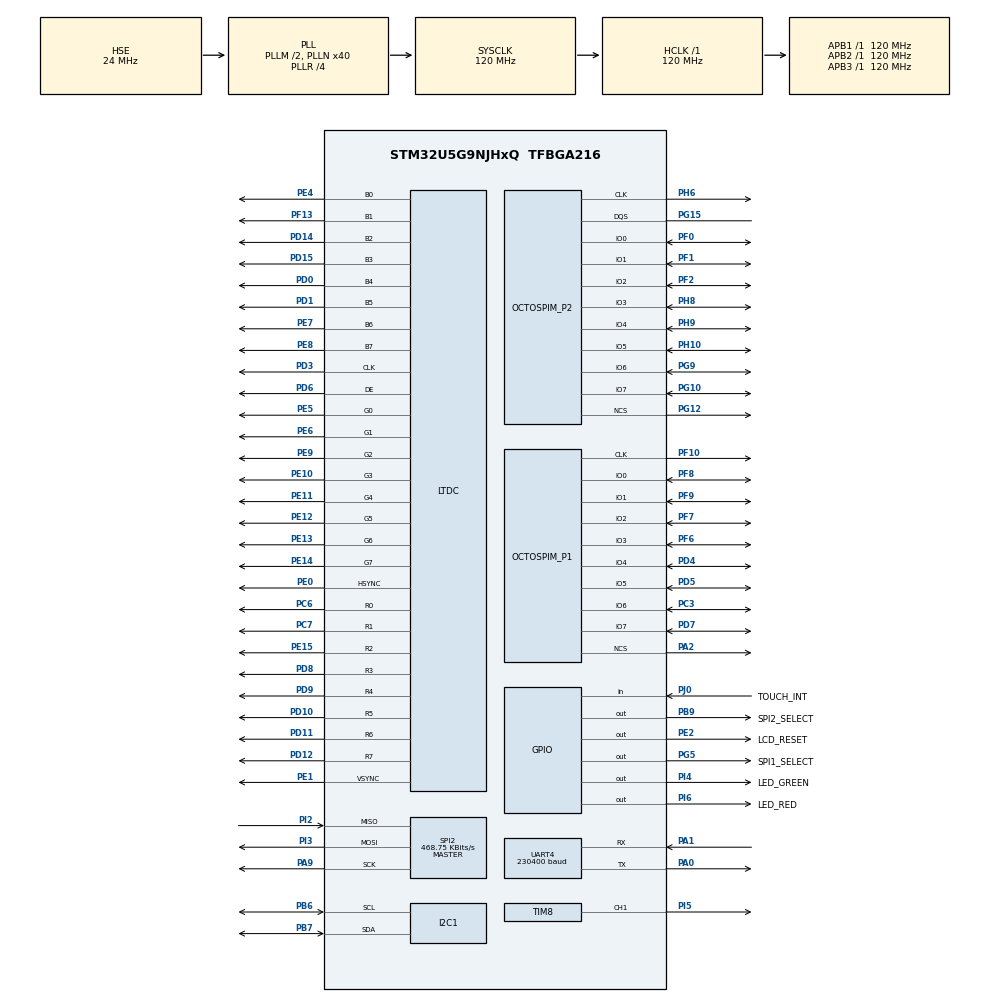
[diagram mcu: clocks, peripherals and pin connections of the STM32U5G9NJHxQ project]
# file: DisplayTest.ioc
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CORTEX_M33_NS.userName=CORTEX_M33
I2C1.Timing=0x307075B1
LTDC.ActiveH=240
LTDC.ActiveW=320
LTDC.Alpha0_L0=255
LTDC.Alpha_L0=255
LTDC.BlendingFactor1_L0=LTDC_BLENDING_FACTOR1_PAxCA
LTDC.BlendingFactor2_L0=LTDC_BLENDING_FACTOR2_PAxCA
LTDC.Blue=255
LTDC.FBStartAdress_L0=0x90000000
LTDC.HBP=43
LTDC.HFP=8
LTDC.HSync=4
LTDC.ImageHeight_L0=240
LTDC.ImageWidth_L0=320
LTDC.Layers=0
LTDC.Red_L0=255
LTDC.VBP=12
LTDC.VFP=8
LTDC.WindowX1_L0=320
LTDC.WindowY1_L0=240
Mcu.Family=STM32U5
Mcu.Name=STM32U5G9NJHxQ
Mcu.Package=TFBGA216
NVIC.LTDC_IRQn=true\:0\:0\:false\:false\:true\:true\:true\:true
NVIC.OCTOSPI1_IRQn=true\:0\:0\:false\:false\:true\:true\:true\:true
NVIC.OCTOSPI2_IRQn=true\:0\:0\:false\:false\:true\:true\:true\:true
NVIC.PriorityGroup=NVIC_PRIORITYGROUP_4
NVIC.UART4_IRQn=true\:0\:0\:false\:false\:true\:true\:true\:true
OCTOSPI1.AccessTime=6
OCTOSPI1.ChipSelectBoundary=23
OCTOSPI1.ChipSelectHighTime=8
OCTOSPI1.ClockPrescaler=2
OCTOSPI1.DelayBlockBypass=HAL_OSPI_DELAY_BLOCK_USED
OCTOSPI1.DelayHoldQuarterCycle=HAL_OSPI_DHQC_ENABLE
OCTOSPI1.DeviceSize=26
OCTOSPI1.FifoThreshold=4
OCTOSPI1.LatencyMode=HAL_OSPI_FIXED_LATENCY
OCTOSPI1.PhaseSel=2
OCTOSPI1.RWRecoveryTime=3
OCTOSPI1.Refresh=240
OCTOSPI1.Units=0x38
OCTOSPI1.WriteZeroLatency=HAL_OSPI_LATENCY_ON_WRITE
OCTOSPI2.ChipSelectHighTime=3
OCTOSPI2.ClockPrescaler=1
OCTOSPI2.DelayHoldQuarterCycle=HAL_OSPI_DHQC_ENABLE
OCTOSPI2.DeviceSize=30
PA0.GPIO_Speed=GPIO_SPEED_FREQ_HIGH
PA0.Mode=Asynchronous
PA0.Signal=UART4_TX
PA1.GPIO_Speed=GPIO_SPEED_FREQ_HIGH
PA1.Mode=Asynchronous
PA1.Signal=UART4_RX
PA2.Mode=OCTOSPI2_Port1_NCS
PA2.Signal=OCTOSPIM_P1_NCS
PA9.GPIO_Speed=GPIO_SPEED_FREQ_HIGH
PA9.Mode=Full_Duplex_Master
PA9.Signal=SPI2_SCK
PB6.GPIO_Speed=GPIO_SPEED_FREQ_HIGH
PB6.Mode=I2C
PB6.Signal=I2C1_SCL
PB7.GPIO_Speed=GPIO_SPEED_FREQ_HIGH
PB7.Mode=I2C
PB7.Signal=I2C1_SDA
PB9.GPIO_Label=SPI2_SELECT
PB9.GPIO_Speed=GPIO_SPEED_FREQ_HIGH
PB9.Signal=GPIO_Output
PC14-OSC32_IN\ (PC14).Mode=LSE-External-Oscillator
PC14-OSC32_IN\ (PC14).Signal=RCC_OSC32_IN
PC15-OSC32_OUT\ (PC15).Mode=LSE-External-Oscillator
PC15-OSC32_OUT\ (PC15).Signal=RCC_OSC32_OUT
PC3.Mode=OCTOSPI2_IOH_Port1H
PC3.Signal=OCTOSPIM_P1_IO6
PC6.GPIO_Speed=GPIO_SPEED_FREQ_VERY_HIGH
PC6.Mode=RGB888
PC6.Signal=LTDC_R0
PC7.GPIO_Speed=GPIO_SPEED_FREQ_VERY_HIGH
PC7.Mode=RGB888
PC7.Signal=LTDC_R1
PD0.GPIO_Speed=GPIO_SPEED_FREQ_VERY_HIGH
PD0.Mode=RGB888
PD0.Signal=LTDC_B4
PD1.GPIO_Speed=GPIO_SPEED_FREQ_VERY_HIGH
PD1.Mode=RGB888
PD1.Signal=LTDC_B5
PD10.GPIO_Speed=GPIO_SPEED_FREQ_VERY_HIGH
PD10.Mode=RGB888
PD10.Signal=LTDC_R5
PD11.GPIO_Speed=GPIO_SPEED_FREQ_VERY_HIGH
PD11.Mode=RGB888
PD11.Signal=LTDC_R6
PD12.GPIO_Speed=GPIO_SPEED_FREQ_VERY_HIGH
PD12.Mode=RGB888
PD12.Signal=LTDC_R7
PD14.GPIO_Speed=GPIO_SPEED_FREQ_VERY_HIGH
PD14.Mode=RGB888
PD14.Signal=LTDC_B2
PD15.GPIO_Speed=GPIO_SPEED_FREQ_VERY_HIGH
PD15.Mode=RGB888
PD15.Signal=LTDC_B3
PD3.GPIO_Speed=GPIO_SPEED_FREQ_VERY_HIGH
PD3.Mode=RGB888
PD3.Signal=LTDC_CLK
PD4.Mode=OCTOSPI2_IOH_Port1H
PD4.Signal=OCTOSPIM_P1_IO4
PD5.Mode=OCTOSPI2_IOH_Port1H
PD5.Signal=OCTOSPIM_P1_IO5
PD6.GPIO_PuPd=GPIO_PULLDOWN
PD6.GPIO_Speed=GPIO_SPEED_FREQ_VERY_HIGH
PD6.Mode=RGB888
PD6.Signal=LTDC_DE
PD7.Mode=OCTOSPI2_IOH_Port1H
PD7.Signal=OCTOSPIM_P1_IO7
PD8.GPIO_Speed=GPIO_SPEED_FREQ_VERY_HIGH
PD8.Mode=RGB888
PD8.Signal=LTDC_R3
PD9.GPIO_Speed=GPIO_SPEED_FREQ_VERY_HIGH
PD9.Mode=RGB888
PD9.Signal=LTDC_R4
PE0.GPIO_Speed=GPIO_SPEED_FREQ_VERY_HIGH
PE0.Mode=RGB888
PE0.Signal=LTDC_HSYNC
PE1.GPIO_Speed=GPIO_SPEED_FREQ_VERY_HIGH
PE1.Mode=RGB888
PE1.Signal=LTDC_VSYNC
PE10.GPIO_Speed=GPIO_SPEED_FREQ_VERY_HIGH
PE10.Mode=RGB888
PE10.Signal=LTDC_G3
PE11.GPIO_Speed=GPIO_SPEED_FREQ_VERY_HIGH
PE11.Mode=RGB888
PE11.Signal=LTDC_G4
PE12.GPIO_Speed=GPIO_SPEED_FREQ_VERY_HIGH
PE12.Mode=RGB888
PE12.Signal=LTDC_G5
PE13.GPIO_Speed=GPIO_SPEED_FREQ_VERY_HIGH
PE13.Mode=RGB888
PE13.Signal=LTDC_G6
PE14.GPIO_Speed=GPIO_SPEED_FREQ_VERY_HIGH
PE14.Mode=RGB888
PE14.Signal=LTDC_G7
PE15.GPIO_Speed=GPIO_SPEED_FREQ_VERY_HIGH
PE15.Mode=RGB888
PE15.Signal=LTDC_R2
PE2.GPIO_Label=LCD_RESET
PE2.GPIO_Speed=GPIO_SPEED_FREQ_MEDIUM
PE2.PinState=GPIO_PIN_SET
PE2.Signal=GPIO_Output
PE4.GPIO_Speed=GPIO_SPEED_FREQ_VERY_HIGH
PE4.Mode=RGB888
PE4.Signal=LTDC_B0
PE5.GPIO_Speed=GPIO_SPEED_FREQ_VERY_HIGH
PE5.Mode=RGB888
PE5.Signal=LTDC_G0
PE6.GPIO_Speed=GPIO_SPEED_FREQ_VERY_HIGH
PE6.Mode=RGB888
PE6.Signal=LTDC_G1
PE7.GPIO_Speed=GPIO_SPEED_FREQ_VERY_HIGH
PE7.Mode=RGB888
PE7.Signal=LTDC_B6
PE8.GPIO_Speed=GPIO_SPEED_FREQ_VERY_HIGH
PE8.Mode=RGB888
PE8.Signal=LTDC_B7
PE9.GPIO_Speed=GPIO_SPEED_FREQ_VERY_HIGH
PE9.Mode=RGB888
PE9.Signal=LTDC_G2
PF0.Mode=OCTOSPI1_IOL_Port2L
PF0.Signal=OCTOSPIM_P2_IO0
PF1.Mode=OCTOSPI1_IOL_Port2L
PF1.Signal=OCTOSPIM_P2_IO1
PF10.Mode=O2_P1_CLK
PF10.Signal=OCTOSPIM_P1_CLK
PF13.GPIO_Speed=GPIO_SPEED_FREQ_VERY_HIGH
PF13.Mode=RGB888
PF13.Signal=LTDC_B1
PF2.Mode=OCTOSPI1_IOL_Port2L
PF2.Signal=OCTOSPIM_P2_IO2
PF6.Mode=OCTOSPI2_IOL_Port1L
PF6.Signal=OCTOSPIM_P1_IO3
PF7.Mode=OCTOSPI2_IOL_Port1L
PF7.Signal=OCTOSPIM_P1_IO2
PF8.Mode=OCTOSPI2_IOL_Port1L
PF8.Signal=OCTOSPIM_P1_IO0
PF9.Mode=OCTOSPI2_IOL_Port1L
PF9.Signal=OCTOSPIM_P1_IO1
PG10.Mode=OCTOSPI1_IOH_Port2H
PG10.Signal=OCTOSPIM_P2_IO7
PG12.Mode=OCTOSPI1_Port2_NCS
PG12.Signal=OCTOSPIM_P2_NCS
PG15.Mode=OCTOSPI1_Port2_DQS
PG15.Signal=OCTOSPIM_P2_DQS
PG5.GPIO_Label=SPI1_SELECT
PG5.GPIO_Speed=GPIO_SPEED_FREQ_HIGH
PG5.Signal=GPIO_Output
PG9.Mode=OCTOSPI1_IOH_Port2H
PG9.Signal=OCTOSPIM_P2_IO6
PH0-OSC_IN\ (PH0).Mode=HSE-External-Oscillator
PH0-OSC_IN\ (PH0).Signal=RCC_OSC_IN
PH1-OSC_OUT\ (PH1).Mode=HSE-External-Oscillator
PH1-OSC_OUT\ (PH1).Signal=RCC_OSC_OUT
PH10.Mode=OCTOSPI1_IOH_Port2H
PH10.Signal=OCTOSPIM_P2_IO5
PH6.Mode=O1_P2_CLK
PH6.Signal=OCTOSPIM_P2_CLK
PH8.Mode=OCTOSPI1_IOL_Port2L
PH8.Signal=OCTOSPIM_P2_IO3
PH9.Mode=OCTOSPI1_IOH_Port2H
PH9.Signal=OCTOSPIM_P2_IO4
PI2.GPIO_Speed=GPIO_SPEED_FREQ_HIGH
PI2.Mode=Full_Duplex_Master
PI2.Signal=SPI2_MISO
PI3.GPIO_Speed=GPIO_SPEED_FREQ_HIGH
PI3.Mode=Full_Duplex_Master
PI3.Signal=SPI2_MOSI
PI4.GPIO_Label=LED_GREEN
PI4.Signal=GPIO_Output
PI5.GPIO_Speed=GPIO_SPEED_FREQ_VERY_HIGH
PI5.Signal=S_TIM8_CH1
PI6.GPIO_Label=LED_RED
PI6.Signal=GPIO_Output
PJ0.GPIO_Label=TOUCH_INT
PJ0.Signal=GPIO_Input
PWR.PowerMode=PWR_SMPS_SUPPLY
ProjectManager.HeapSize=0x200
ProjectManager.StackSize=0x400
ProjectManager.TargetToolchain=STM32CubeIDE
RCC.ADCFreq_Value=16000000
RCC.AHBFreq_Value=120000000
RCC.APB1Freq_Value=120000000
RCC.APB1TimFreq_Value=120000000
RCC.APB2Freq_Value=120000000
RCC.APB2TimFreq_Value=120000000
RCC.APB3Freq_Value=120000000
RCC.CortexFreq_Value=120000000
RCC.EPOD_VALUE=24000000
RCC.FLatency=FLASH_LATENCY_4
RCC.HCLKFreq_Value=120000000
RCC.HSE_VALUE=24000000
RCC.HSI48_VALUE=48000000
RCC.HSICalibrationValue=64
RCC.HSI_VALUE=16000000
RCC.LSIDIV_VALUE=32000
RCC.MSICalibrationValue=0
RCC.MSIClockRange=RCC_MSIRANGE_0
RCC.MSI_VALUE=48000000
RCC.PLL1R=4
RCC.PLL2FRACN=0
RCC.PLL2M=12
RCC.PLL2N=50
RCC.PLL2Q=4
RCC.PLL2R=20
RCC.PLL3FRACN=0
RCC.PLLFRACN=0
RCC.PLLM=2
RCC.PLLN=40
RCC.PLLSourceVirtual=RCC_PLLSOURCE_HSE
RCC.RTCClockSelection=RCC_RTCCLKSOURCE_LSE
RCC.SYSCLKFreq_VALUE=120000000
RCC.SYSCLKSource=RCC_SYSCLKSOURCE_PLLCLK
RCC.VCOOutputFreq_Value=480000000
RTC.BinMode=RTC_BINARY_NONE
SH.S_TIM8_CH1.0=TIM8_CH1,PWM Generation1 CH1
SPI2.BaudRatePrescaler=SPI_BAUDRATEPRESCALER_256
SPI2.CLKPhase=SPI_PHASE_2EDGE
SPI2.CLKPolarity=SPI_POLARITY_HIGH
SPI2.CalculateBaudRate=468.75 KBits/s
SPI2.DataSize=SPI_DATASIZE_8BIT
SPI2.Direction=SPI_DIRECTION_2LINES
SPI2.Mode=SPI_MODE_MASTER
SPI2.VirtualType=VM_MASTER
TIM8.AutoReloadPreload=TIM_AUTORELOAD_PRELOAD_ENABLE
TIM8.Channel-PWM\ Generation1\ CH1=TIM_CHANNEL_1
TIM8.PeriodNoDither=4000
TIM8.PulseNoDither_1=3200
UART4.BaudRate=230400
VP_DMA2D_VS_DMA2D.Mode=DMA2D_Activate
VP_ICACHE_VS_ICACHE.Mode=DirectMappedCache
VP_LPBAMQUEUE_VS_QUEUE.Mode=QUEUEMODE
VP_LPBAM_VS_SIG1.Mode=SmartRun
VP_LPBAM_VS_SIG4.Mode=LPDMA1
VP_MEMORYMAP_VS_MEMORYMAP.Mode=CurAppReg
VP_OCTOSPI1_VS_hyperbus.Mode=hyperbus_mode
VP_OCTOSPI2_VS_octo.Mode=octo_mode
VP_PWR_VS_LPOM.Mode=PowerOptimisation
VP_PWR_VS_SECSignals.Mode=Security/Privilege
VP_RTC_VS_RTC_Activate.Mode=RTC_Enabled
VP_TIM8_VS_ClockSourceINT.Mode=Internal
board=custom

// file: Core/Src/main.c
/* USER CODE BEGIN Header */
/**
  ******************************************************************************
  * @file           : main.c
  * @brief          : Main program body
  ******************************************************************************
  * @attention
  *
  * Copyright (c) 2026 STMicroelectronics.
  * All rights reserved.
  *
  * This software is licensed under terms that can be found in the LICENSE file
  * in the root directory of this software component.
  * If no LICENSE file comes with this software, it is provided AS-IS.
  *
  ******************************************************************************
  */
/* USER CODE END Header */
#include "main.h"

/* USER CODE BEGIN Includes */
#include "faulthandler.h"
#include "diagnostics.h"
#include "gpio.h"
#include "hyperbusram.h"
#include "string.h"
#include "backlight.h"
#include "lcd.h"
#include "health.h"
#include "stack_check.h"
#include "ospiflash.h"
#include "ad7124.h"
#include "main.h"
/* USER CODE END Includes */

DMA2D_HandleTypeDef hdma2d;

I2C_HandleTypeDef hi2c1;

LTDC_HandleTypeDef hltdc;

OSPI_HandleTypeDef hospi1;
OSPI_HandleTypeDef hospi2;

RTC_HandleTypeDef hrtc;

SPI_HandleTypeDef hspi2;

TIM_HandleTypeDef htim8;

UART_HandleTypeDef huart4;

void SystemClock_Config(void);
static void SystemPower_Config(void);
static void MX_GPIO_Init(void);
static void MX_ICACHE_Init(void);
static void MX_UART4_Init(void);
static void MX_OCTOSPI1_Init(void);
static void MX_DMA2D_Init(void);
static void MX_LTDC_Init(void);
static void MX_TIM8_Init(void);
static void MX_OCTOSPI2_Init(void);
static void MX_I2C1_Init(void);
static void MX_SPI2_Init(void);
static void MX_RTC_Init(void);

int main(void)
{

  /* MCU Configuration--------------------------------------------------------*/

  /* Reset of all peripherals, Initializes the Flash interface and the Systick. */
  HAL_Init();

  /* Configure the System Power */
  SystemPower_Config();

  /* Configure the system clock */
  SystemClock_Config();

  /* USER CODE BEGIN SysInit */

  // Configure sysTick for 1ms, access the system tick using HAL_GetTick()
  if (SysTick_Config(SYS_CLOCK) != HAL_OK)
  {
    FaultHandler(ERR_CLK);
  }

  /* USER CODE END SysInit */

  /* Initialize all configured peripherals */
  MX_GPIO_Init();
  MX_ICACHE_Init();
  MX_UART4_Init();
  MX_OCTOSPI1_Init();
  MX_DMA2D_Init();
  MX_LTDC_Init();
  MX_TIM8_Init();
  MX_OCTOSPI2_Init();
  MX_I2C1_Init();
  MX_SPI2_Init();
  MX_RTC_Init();
  /* USER CODE BEGIN 2 */

  /**
   * Main entry to our application, DOES NOT RETURN
   */
  main_cur();

  /* USER CODE END 2 */

  /* Infinite loop */
  while (1)
  {

  }
}

void SystemClock_Config(void)
{
  RCC_OscInitTypeDef RCC_OscInitStruct = {0};
  RCC_ClkInitTypeDef RCC_ClkInitStruct = {0};

  /** Configure the main internal regulator output voltage
  */
  if (HAL_PWREx_ControlVoltageScaling(PWR_REGULATOR_VOLTAGE_SCALE1) != HAL_OK)
  {
    Error_Handler();
  }

  /** Configure LSE Drive Capability
  */
  HAL_PWR_EnableBkUpAccess();
  __HAL_RCC_LSEDRIVE_CONFIG(RCC_LSEDRIVE_LOW);

  /** Initializes the CPU, AHB and APB buses clocks
  */
  RCC_OscInitStruct.OscillatorType = RCC_OSCILLATORTYPE_HSE|RCC_OSCILLATORTYPE_LSE
                              |RCC_OSCILLATORTYPE_MSI;
  RCC_OscInitStruct.HSEState = RCC_HSE_ON;
  RCC_OscInitStruct.LSEState = RCC_LSE_ON;
  RCC_OscInitStruct.MSIState = RCC_MSI_ON;
  RCC_OscInitStruct.MSICalibrationValue = 0;
  RCC_OscInitStruct.MSIClockRange = RCC_MSIRANGE_0;
  RCC_OscInitStruct.PLL.PLLState = RCC_PLL_ON;
  RCC_OscInitStruct.PLL.PLLSource = RCC_PLLSOURCE_HSE;
  RCC_OscInitStruct.PLL.PLLMBOOST = RCC_PLLMBOOST_DIV2;
  RCC_OscInitStruct.PLL.PLLM = 2;
  RCC_OscInitStruct.PLL.PLLN = 40;
  RCC_OscInitStruct.PLL.PLLP = 2;
  RCC_OscInitStruct.PLL.PLLQ = 2;
  RCC_OscInitStruct.PLL.PLLR = 4;
  RCC_OscInitStruct.PLL.PLLRGE = RCC_PLLVCIRANGE_1;
  RCC_OscInitStruct.PLL.PLLFRACN = 0;
  if (HAL_RCC_OscConfig(&RCC_OscInitStruct) != HAL_OK)
  {
    Error_Handler();
  }

  /** Initializes the CPU, AHB and APB buses clocks
  */
  RCC_ClkInitStruct.ClockType = RCC_CLOCKTYPE_HCLK|RCC_CLOCKTYPE_SYSCLK
                              |RCC_CLOCKTYPE_PCLK1|RCC_CLOCKTYPE_PCLK2
                              |RCC_CLOCKTYPE_PCLK3;
  RCC_ClkInitStruct.SYSCLKSource = RCC_SYSCLKSOURCE_PLLCLK;
  RCC_ClkInitStruct.AHBCLKDivider = RCC_SYSCLK_DIV1;
  RCC_ClkInitStruct.APB1CLKDivider = RCC_HCLK_DIV1;
  RCC_ClkInitStruct.APB2CLKDivider = RCC_HCLK_DIV1;
  RCC_ClkInitStruct.APB3CLKDivider = RCC_HCLK_DIV1;

  if (HAL_RCC_ClockConfig(&RCC_ClkInitStruct, FLASH_LATENCY_4) != HAL_OK)
  {
    Error_Handler();
  }
}

/**
  * @brief Power Configuration
  * @retval None
  */
static void SystemPower_Config(void)
{
  HAL_PWREx_EnableVddIO2();

  /*
   * Switch to SMPS regulator instead of LDO
   */
  if (HAL_PWREx_ConfigSupply(PWR_SMPS_SUPPLY) != HAL_OK)
  {
    Error_Handler();
  }
}

static void MX_DMA2D_Init(void)
{

  hdma2d.Instance = DMA2D;
  hdma2d.Init.Mode = DMA2D_M2M;
  hdma2d.Init.ColorMode = DMA2D_OUTPUT_ARGB8888;
  hdma2d.Init.OutputOffset = 0;
  hdma2d.Init.BytesSwap = DMA2D_BYTES_REGULAR;
  hdma2d.Init.LineOffsetMode = DMA2D_LOM_PIXELS;
  hdma2d.LayerCfg[1].InputOffset = 0;
  hdma2d.LayerCfg[1].InputColorMode = DMA2D_INPUT_ARGB8888;
  hdma2d.LayerCfg[1].AlphaMode = DMA2D_NO_MODIF_ALPHA;
  hdma2d.LayerCfg[1].InputAlpha = 0;
  hdma2d.LayerCfg[1].AlphaInverted = DMA2D_REGULAR_ALPHA;
  hdma2d.LayerCfg[1].RedBlueSwap = DMA2D_RB_REGULAR;
  if (HAL_DMA2D_Init(&hdma2d) != HAL_OK)
  {
    Error_Handler();
  }
  if (HAL_DMA2D_ConfigLayer(&hdma2d, 1) != HAL_OK)
  {
    Error_Handler();
  }

}

static void MX_I2C1_Init(void)
{

  hi2c1.Instance = I2C1;
  hi2c1.Init.Timing = 0x307075B1;
  hi2c1.Init.OwnAddress1 = 0;
  hi2c1.Init.AddressingMode = I2C_ADDRESSINGMODE_7BIT;
  hi2c1.Init.DualAddressMode = I2C_DUALADDRESS_DISABLE;
  hi2c1.Init.OwnAddress2 = 0;
  hi2c1.Init.OwnAddress2Masks = I2C_OA2_NOMASK;
  hi2c1.Init.GeneralCallMode = I2C_GENERALCALL_DISABLE;
  hi2c1.Init.NoStretchMode = I2C_NOSTRETCH_DISABLE;
  if (HAL_I2C_Init(&hi2c1) != HAL_OK)
  {
    Error_Handler();
  }

  /** Configure Analogue filter
  */
  if (HAL_I2CEx_ConfigAnalogFilter(&hi2c1, I2C_ANALOGFILTER_ENABLE) != HAL_OK)
  {
    Error_Handler();
  }

  /** Configure Digital filter
  */
  if (HAL_I2CEx_ConfigDigitalFilter(&hi2c1, 0) != HAL_OK)
  {
    Error_Handler();
  }

}

static void MX_ICACHE_Init(void)
{

  /** Enable instruction cache in 1-way (direct mapped cache)
  */
  if (HAL_ICACHE_ConfigAssociativityMode(ICACHE_1WAY) != HAL_OK)
  {
    Error_Handler();
  }
  if (HAL_ICACHE_Enable() != HAL_OK)
  {
    Error_Handler();
  }

}

static void MX_LTDC_Init(void)
{

  LTDC_LayerCfgTypeDef pLayerCfg = {0};

  hltdc.Instance = LTDC;
  hltdc.Init.HSPolarity = LTDC_HSPOLARITY_AL;
  hltdc.Init.VSPolarity = LTDC_VSPOLARITY_AL;
  hltdc.Init.DEPolarity = LTDC_DEPOLARITY_AL;
  hltdc.Init.PCPolarity = LTDC_PCPOLARITY_IPC;
  hltdc.Init.HorizontalSync = 3;
  hltdc.Init.VerticalSync = 3;
  hltdc.Init.AccumulatedHBP = 46;
  hltdc.Init.AccumulatedVBP = 15;
  hltdc.Init.AccumulatedActiveW = 366;
  hltdc.Init.AccumulatedActiveH = 255;
  hltdc.Init.TotalWidth = 374;
  hltdc.Init.TotalHeigh = 263;
  hltdc.Init.Backcolor.Blue = 255;
  hltdc.Init.Backcolor.Green = 0;
  hltdc.Init.Backcolor.Red = 0;
  if (HAL_LTDC_Init(&hltdc) != HAL_OK)
  {
    Error_Handler();
  }
  pLayerCfg.WindowX0 = 0;
  pLayerCfg.WindowX1 = 320;
  pLayerCfg.WindowY0 = 0;
  pLayerCfg.WindowY1 = 240;
  pLayerCfg.PixelFormat = LTDC_PIXEL_FORMAT_ARGB8888;
  pLayerCfg.Alpha = 255;
  pLayerCfg.Alpha0 = 255;
  pLayerCfg.BlendingFactor1 = LTDC_BLENDING_FACTOR1_PAxCA;
  pLayerCfg.BlendingFactor2 = LTDC_BLENDING_FACTOR2_PAxCA;
  pLayerCfg.FBStartAdress = 0x90000000;
  pLayerCfg.ImageWidth = 320;
  pLayerCfg.ImageHeight = 240;
  pLayerCfg.Backcolor.Blue = 0;
  pLayerCfg.Backcolor.Green = 0;
  pLayerCfg.Backcolor.Red = 255;
  if (HAL_LTDC_ConfigLayer(&hltdc, &pLayerCfg, 0) != HAL_OK)
  {
    Error_Handler();
  }

}

static void MX_OCTOSPI1_Init(void)
{

  OSPIM_CfgTypeDef sOspiManagerCfg = {0};
  OSPI_HyperbusCfgTypeDef sHyperBusCfg = {0};
  HAL_OSPI_DLYB_CfgTypeDef HAL_OSPI_DLYB_Cfg_Struct = {0};

  /* OCTOSPI1 parameter configuration*/
  hospi1.Instance = OCTOSPI1;
  hospi1.Init.FifoThreshold = 4;
  hospi1.Init.DualQuad = HAL_OSPI_DUALQUAD_DISABLE;
  hospi1.Init.MemoryType = HAL_OSPI_MEMTYPE_HYPERBUS;
  hospi1.Init.DeviceSize = 26;
  hospi1.Init.ChipSelectHighTime = 8;
  hospi1.Init.FreeRunningClock = HAL_OSPI_FREERUNCLK_DISABLE;
  hospi1.Init.ClockMode = HAL_OSPI_CLOCK_MODE_0;
  hospi1.Init.WrapSize = HAL_OSPI_WRAP_NOT_SUPPORTED;
  hospi1.Init.ClockPrescaler = 2;
  hospi1.Init.SampleShifting = HAL_OSPI_SAMPLE_SHIFTING_NONE;
  hospi1.Init.DelayHoldQuarterCycle = HAL_OSPI_DHQC_ENABLE;
  hospi1.Init.ChipSelectBoundary = 23;
  hospi1.Init.DelayBlockBypass = HAL_OSPI_DELAY_BLOCK_USED;
  hospi1.Init.MaxTran = 0;
  hospi1.Init.Refresh = 240;
  if (HAL_OSPI_Init(&hospi1) != HAL_OK)
  {
    Error_Handler();
  }
  sOspiManagerCfg.ClkPort = 2;
  sOspiManagerCfg.DQSPort = 2;
  sOspiManagerCfg.NCSPort = 2;
  sOspiManagerCfg.IOLowPort = HAL_OSPIM_IOPORT_2_LOW;
  sOspiManagerCfg.IOHighPort = HAL_OSPIM_IOPORT_2_HIGH;
  if (HAL_OSPIM_Config(&hospi1, &sOspiManagerCfg, HAL_OSPI_TIMEOUT_DEFAULT_VALUE) != HAL_OK)
  {
    Error_Handler();
  }
  sHyperBusCfg.RWRecoveryTime = 3;
  sHyperBusCfg.AccessTime = 6;
  sHyperBusCfg.WriteZeroLatency = HAL_OSPI_LATENCY_ON_WRITE;
  sHyperBusCfg.LatencyMode = HAL_OSPI_FIXED_LATENCY;
  if (HAL_OSPI_HyperbusCfg(&hospi1, &sHyperBusCfg, HAL_OSPI_TIMEOUT_DEFAULT_VALUE) != HAL_OK)
  {
    Error_Handler();
  }
  HAL_OSPI_DLYB_Cfg_Struct.Units = 0x38;
  HAL_OSPI_DLYB_Cfg_Struct.PhaseSel = 2;
  if (HAL_OSPI_DLYB_SetConfig(&hospi1, &HAL_OSPI_DLYB_Cfg_Struct) != HAL_OK)
  {
    Error_Handler();
  }

}

static void MX_OCTOSPI2_Init(void)
{

  OSPIM_CfgTypeDef sOspiManagerCfg = {0};

  /* OCTOSPI2 parameter configuration*/
  hospi2.Instance = OCTOSPI2;
  hospi2.Init.FifoThreshold = 1;
  hospi2.Init.DualQuad = HAL_OSPI_DUALQUAD_DISABLE;
  hospi2.Init.MemoryType = HAL_OSPI_MEMTYPE_MICRON;
  hospi2.Init.DeviceSize = 30;
  hospi2.Init.ChipSelectHighTime = 3;
  hospi2.Init.FreeRunningClock = HAL_OSPI_FREERUNCLK_DISABLE;
  hospi2.Init.ClockMode = HAL_OSPI_CLOCK_MODE_0;
  hospi2.Init.WrapSize = HAL_OSPI_WRAP_NOT_SUPPORTED;
  hospi2.Init.ClockPrescaler = 8;
  hospi2.Init.SampleShifting = HAL_OSPI_SAMPLE_SHIFTING_NONE;
  hospi2.Init.DelayHoldQuarterCycle = HAL_OSPI_DHQC_ENABLE;
  hospi2.Init.ChipSelectBoundary = 0;
  hospi2.Init.DelayBlockBypass = HAL_OSPI_DELAY_BLOCK_BYPASSED;
  hospi2.Init.MaxTran = 0;
  hospi2.Init.Refresh = 0;
  if (HAL_OSPI_Init(&hospi2) != HAL_OK)
  {
    Error_Handler();
  }
  sOspiManagerCfg.ClkPort = 1;
  sOspiManagerCfg.NCSPort = 1;
  sOspiManagerCfg.IOLowPort = HAL_OSPIM_IOPORT_1_LOW;
  sOspiManagerCfg.IOHighPort = HAL_OSPIM_IOPORT_1_HIGH;
  if (HAL_OSPIM_Config(&hospi2, &sOspiManagerCfg, HAL_OSPI_TIMEOUT_DEFAULT_VALUE) != HAL_OK)
  {
    Error_Handler();
  }

}

static void MX_RTC_Init(void)
{

  RTC_PrivilegeStateTypeDef privilegeState = {0};

  /** Initialize RTC Only
  */
  hrtc.Instance = RTC;
  hrtc.Init.HourFormat = RTC_HOURFORMAT_24;
  hrtc.Init.AsynchPrediv = 127;
  hrtc.Init.SynchPrediv = 255;
  hrtc.Init.OutPut = RTC_OUTPUT_DISABLE;
  hrtc.Init.OutPutRemap = RTC_OUTPUT_REMAP_NONE;
  hrtc.Init.OutPutPolarity = RTC_OUTPUT_POLARITY_HIGH;
  hrtc.Init.OutPutType = RTC_OUTPUT_TYPE_OPENDRAIN;
  hrtc.Init.OutPutPullUp = RTC_OUTPUT_PULLUP_NONE;
  hrtc.Init.BinMode = RTC_BINARY_NONE;
  if (HAL_RTC_Init(&hrtc) != HAL_OK)
  {
    Error_Handler();
  }
  privilegeState.rtcPrivilegeFull = RTC_PRIVILEGE_FULL_NO;
  privilegeState.backupRegisterPrivZone = RTC_PRIVILEGE_BKUP_ZONE_NONE;
  privilegeState.backupRegisterStartZone2 = RTC_BKP_DR0;
  privilegeState.backupRegisterStartZone3 = RTC_BKP_DR0;
  if (HAL_RTCEx_PrivilegeModeSet(&hrtc, &privilegeState) != HAL_OK)
  {
    Error_Handler();
  }

}

static void MX_SPI2_Init(void)
{

  SPI_AutonomousModeConfTypeDef HAL_SPI_AutonomousMode_Cfg_Struct = {0};

  /* SPI2 parameter configuration*/
  hspi2.Instance = SPI2;
  hspi2.Init.Mode = SPI_MODE_MASTER;
  hspi2.Init.Direction = SPI_DIRECTION_2LINES;
  hspi2.Init.DataSize = SPI_DATASIZE_8BIT;
  hspi2.Init.CLKPolarity = SPI_POLARITY_HIGH;
  hspi2.Init.CLKPhase = SPI_PHASE_2EDGE;
  hspi2.Init.NSS = SPI_NSS_SOFT;
  hspi2.Init.BaudRatePrescaler = SPI_BAUDRATEPRESCALER_256;
  hspi2.Init.FirstBit = SPI_FIRSTBIT_MSB;
  hspi2.Init.TIMode = SPI_TIMODE_DISABLE;
  hspi2.Init.CRCCalculation = SPI_CRCCALCULATION_DISABLE;
  hspi2.Init.CRCPolynomial = 0x7;
  hspi2.Init.NSSPMode = SPI_NSS_PULSE_DISABLE;
  hspi2.Init.NSSPolarity = SPI_NSS_POLARITY_LOW;
  hspi2.Init.FifoThreshold = SPI_FIFO_THRESHOLD_01DATA;
  hspi2.Init.MasterSSIdleness = SPI_MASTER_SS_IDLENESS_00CYCLE;
  hspi2.Init.MasterInterDataIdleness = SPI_MASTER_INTERDATA_IDLENESS_00CYCLE;
  hspi2.Init.MasterReceiverAutoSusp = SPI_MASTER_RX_AUTOSUSP_DISABLE;
  hspi2.Init.MasterKeepIOState = SPI_MASTER_KEEP_IO_STATE_DISABLE;
  hspi2.Init.IOSwap = SPI_IO_SWAP_DISABLE;
  hspi2.Init.ReadyMasterManagement = SPI_RDY_MASTER_MANAGEMENT_INTERNALLY;
  hspi2.Init.ReadyPolarity = SPI_RDY_POLARITY_HIGH;
  if (HAL_SPI_Init(&hspi2) != HAL_OK)
  {
    Error_Handler();
  }
  HAL_SPI_AutonomousMode_Cfg_Struct.TriggerState = SPI_AUTO_MODE_DISABLE;
  HAL_SPI_AutonomousMode_Cfg_Struct.TriggerSelection = SPI_GRP1_GPDMA_CH0_TCF_TRG;
  HAL_SPI_AutonomousMode_Cfg_Struct.TriggerPolarity = SPI_TRIG_POLARITY_RISING;
  if (HAL_SPIEx_SetConfigAutonomousMode(&hspi2, &HAL_SPI_AutonomousMode_Cfg_Struct) != HAL_OK)
  {
    Error_Handler();
  }

}

static void MX_TIM8_Init(void)
{

  TIM_ClockConfigTypeDef sClockSourceConfig = {0};
  TIM_MasterConfigTypeDef sMasterConfig = {0};
  TIM_OC_InitTypeDef sConfigOC = {0};
  TIM_BreakDeadTimeConfigTypeDef sBreakDeadTimeConfig = {0};

  htim8.Instance = TIM8;
  htim8.Init.Prescaler = 0;
  htim8.Init.CounterMode = TIM_COUNTERMODE_UP;
  htim8.Init.Period = 4000;
  htim8.Init.ClockDivision = TIM_CLOCKDIVISION_DIV1;
  htim8.Init.RepetitionCounter = 0;
  htim8.Init.AutoReloadPreload = TIM_AUTORELOAD_PRELOAD_ENABLE;
  if (HAL_TIM_Base_Init(&htim8) != HAL_OK)
  {
    Error_Handler();
  }
  sClockSourceConfig.ClockSource = TIM_CLOCKSOURCE_INTERNAL;
  if (HAL_TIM_ConfigClockSource(&htim8, &sClockSourceConfig) != HAL_OK)
  {
    Error_Handler();
  }
  if (HAL_TIM_PWM_Init(&htim8) != HAL_OK)
  {
    Error_Handler();
  }
  sMasterConfig.MasterOutputTrigger = TIM_TRGO_RESET;
  sMasterConfig.MasterOutputTrigger2 = TIM_TRGO2_RESET;
  sMasterConfig.MasterSlaveMode = TIM_MASTERSLAVEMODE_DISABLE;
  if (HAL_TIMEx_MasterConfigSynchronization(&htim8, &sMasterConfig) != HAL_OK)
  {
    Error_Handler();
  }
  sConfigOC.OCMode = TIM_OCMODE_PWM1;
  sConfigOC.Pulse = 3200;
  sConfigOC.OCPolarity = TIM_OCPOLARITY_HIGH;
  sConfigOC.OCNPolarity = TIM_OCNPOLARITY_HIGH;
  sConfigOC.OCFastMode = TIM_OCFAST_DISABLE;
  sConfigOC.OCIdleState = TIM_OCIDLESTATE_RESET;
  sConfigOC.OCNIdleState = TIM_OCNIDLESTATE_RESET;
  if (HAL_TIM_PWM_ConfigChannel(&htim8, &sConfigOC, TIM_CHANNEL_1) != HAL_OK)
  {
    Error_Handler();
  }
  sBreakDeadTimeConfig.OffStateRunMode = TIM_OSSR_DISABLE;
  sBreakDeadTimeConfig.OffStateIDLEMode = TIM_OSSI_DISABLE;
  sBreakDeadTimeConfig.LockLevel = TIM_LOCKLEVEL_OFF;
  sBreakDeadTimeConfig.DeadTime = 0;
  sBreakDeadTimeConfig.BreakState = TIM_BREAK_DISABLE;
  sBreakDeadTimeConfig.BreakPolarity = TIM_BREAKPOLARITY_HIGH;
  sBreakDeadTimeConfig.BreakFilter = 0;
  sBreakDeadTimeConfig.BreakAFMode = TIM_BREAK_AFMODE_INPUT;
  sBreakDeadTimeConfig.Break2State = TIM_BREAK2_DISABLE;
  sBreakDeadTimeConfig.Break2Polarity = TIM_BREAK2POLARITY_HIGH;
  sBreakDeadTimeConfig.Break2Filter = 0;
  sBreakDeadTimeConfig.Break2AFMode = TIM_BREAK_AFMODE_INPUT;
  sBreakDeadTimeConfig.AutomaticOutput = TIM_AUTOMATICOUTPUT_DISABLE;
  if (HAL_TIMEx_ConfigBreakDeadTime(&htim8, &sBreakDeadTimeConfig) != HAL_OK)
  {
    Error_Handler();
  }
  HAL_TIM_MspPostInit(&htim8);

}

static void MX_UART4_Init(void)
{

  huart4.Instance = UART4;
  huart4.Init.BaudRate = 230400;
  huart4.Init.WordLength = UART_WORDLENGTH_8B;
  huart4.Init.StopBits = UART_STOPBITS_1;
  huart4.Init.Parity = UART_PARITY_NONE;
  huart4.Init.Mode = UART_MODE_TX_RX;
  huart4.Init.HwFlowCtl = UART_HWCONTROL_NONE;
  huart4.Init.OverSampling = UART_OVERSAMPLING_16;
  huart4.Init.OneBitSampling = UART_ONE_BIT_SAMPLE_DISABLE;
  huart4.Init.ClockPrescaler = UART_PRESCALER_DIV1;
  huart4.AdvancedInit.AdvFeatureInit = UART_ADVFEATURE_NO_INIT;
  if (HAL_UART_Init(&huart4) != HAL_OK)
  {
    Error_Handler();
  }
  if (HAL_UARTEx_SetTxFifoThreshold(&huart4, UART_TXFIFO_THRESHOLD_1_8) != HAL_OK)
  {
    Error_Handler();
  }
  if (HAL_UARTEx_SetRxFifoThreshold(&huart4, UART_RXFIFO_THRESHOLD_1_8) != HAL_OK)
  {
    Error_Handler();
  }
  if (HAL_UARTEx_DisableFifoMode(&huart4) != HAL_OK)
  {
    Error_Handler();
  }

}

static void MX_GPIO_Init(void)
{
  GPIO_InitTypeDef GPIO_InitStruct = {0};

  /* GPIO Ports Clock Enable */
  __HAL_RCC_GPIOE_CLK_ENABLE();
  __HAL_RCC_GPIOB_CLK_ENABLE();
  __HAL_RCC_GPIOG_CLK_ENABLE();
  __HAL_RCC_GPIOD_CLK_ENABLE();
  __HAL_RCC_GPIOC_CLK_ENABLE();
  __HAL_RCC_GPIOI_CLK_ENABLE();
  __HAL_RCC_GPIOH_CLK_ENABLE();
  __HAL_RCC_GPIOA_CLK_ENABLE();
  __HAL_RCC_GPIOJ_CLK_ENABLE();
  __HAL_RCC_GPIOF_CLK_ENABLE();

  /*Configure GPIO pin Output Level */
  HAL_GPIO_WritePin(SPI2_SELECT_GPIO_Port, SPI2_SELECT_Pin, GPIO_PIN_RESET);

  /*Configure GPIO pin Output Level */
  HAL_GPIO_WritePin(GPIOI, LED_RED_Pin|LED_GREEN_Pin, GPIO_PIN_RESET);

  /*Configure GPIO pin Output Level */
  HAL_GPIO_WritePin(LCD_RESET_GPIO_Port, LCD_RESET_Pin, GPIO_PIN_SET);

  /*Configure GPIO pin Output Level */
  HAL_GPIO_WritePin(SPI1_SELECT_GPIO_Port, SPI1_SELECT_Pin, GPIO_PIN_RESET);

  /*Configure GPIO pin : SPI2_SELECT_Pin */
  GPIO_InitStruct.Pin = SPI2_SELECT_Pin;
  GPIO_InitStruct.Mode = GPIO_MODE_OUTPUT_PP;
  GPIO_InitStruct.Pull = GPIO_NOPULL;
  GPIO_InitStruct.Speed = GPIO_SPEED_FREQ_HIGH;
  HAL_GPIO_Init(SPI2_SELECT_GPIO_Port, &GPIO_InitStruct);

  /*Configure GPIO pins : LED_RED_Pin LED_GREEN_Pin */
  GPIO_InitStruct.Pin = LED_RED_Pin|LED_GREEN_Pin;
  GPIO_InitStruct.Mode = GPIO_MODE_OUTPUT_PP;
  GPIO_InitStruct.Pull = GPIO_NOPULL;
  GPIO_InitStruct.Speed = GPIO_SPEED_FREQ_LOW;
  HAL_GPIO_Init(GPIOI, &GPIO_InitStruct);

  /*Configure GPIO pin : LCD_RESET_Pin */
  GPIO_InitStruct.Pin = LCD_RESET_Pin;
  GPIO_InitStruct.Mode = GPIO_MODE_OUTPUT_PP;
  GPIO_InitStruct.Pull = GPIO_NOPULL;
  GPIO_InitStruct.Speed = GPIO_SPEED_FREQ_MEDIUM;
  HAL_GPIO_Init(LCD_RESET_GPIO_Port, &GPIO_InitStruct);

  /*Configure GPIO pin : SPI1_SELECT_Pin */
  GPIO_InitStruct.Pin = SPI1_SELECT_Pin;
  GPIO_InitStruct.Mode = GPIO_MODE_OUTPUT_PP;
  GPIO_InitStruct.Pull = GPIO_NOPULL;
  GPIO_InitStruct.Speed = GPIO_SPEED_FREQ_HIGH;
  HAL_GPIO_Init(SPI1_SELECT_GPIO_Port, &GPIO_InitStruct);

  /*Configure GPIO pin : TOUCH_INT_Pin */
  GPIO_InitStruct.Pin = TOUCH_INT_Pin;
  GPIO_InitStruct.Mode = GPIO_MODE_INPUT;
  GPIO_InitStruct.Pull = GPIO_NOPULL;
  HAL_GPIO_Init(TOUCH_INT_GPIO_Port, &GPIO_InitStruct);

}

void Error_Handler(void)
{
  __disable_irq();
  while (1)
  {
  }
}
